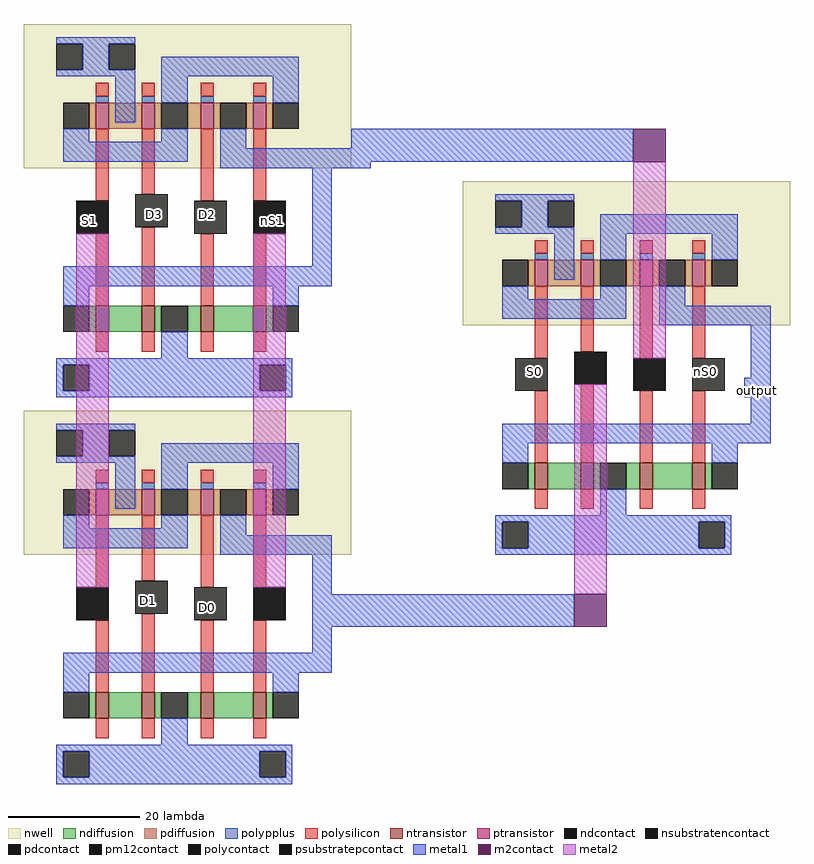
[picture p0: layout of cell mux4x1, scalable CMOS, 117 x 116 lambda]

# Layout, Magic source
magic
tech scmos
<< polycontact >>
rect 8 23 13 28
rect 35 23 40 28
<< metal1 >>
rect 50 36 93 39
rect 44 34 93 36
rect 44 33 53 34
rect 110 -2 114 1
rect 46 -37 84 -32
<< m2contact >>
rect 93 34 98 39
rect 84 -37 89 -32
<< pm12contact >>
rect 8 23 13 28
rect 35 23 40 28
rect 84 0 89 5
rect 93 -1 98 4
rect 8 -36 13 -31
rect 35 -36 40 -31
<< metal2 >>
rect 8 -31 13 23
rect 35 -31 40 23
rect 84 -32 89 0
rect 93 4 98 34
use mux2x1  mux2x1_2
transform 1 0 84 0 1 12
box -17 -38 33 19
use mux2x1  mux2x1_1
transform 1 0 17 0 1 -23
box -17 -38 33 19
use mux2x1  mux2x1_0
transform 1 0 17 0 1 36
box -17 -38 33 19
<< labels >>
rlabel space 20 26 20 26 1 D3
rlabel space 28 26 28 26 1 D2
rlabel space 19 -33 19 -33 1 D1
rlabel space 28 -34 28 -34 1 D0
rlabel metal1 112 -1 112 -1 7 output
rlabel space 104 2 104 2 1 nS0
rlabel space 78 2 78 2 1 S0
rlabel pm12contact 10 25 10 25 1 S1
rlabel pm12contact 38 25 38 25 1 nS1
<< end >>

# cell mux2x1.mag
magic
tech scmos
<< nwell >>
rect -17 -3 33 19
<< ntransistor >>
rect -6 -28 -4 -24
rect 1 -28 3 -24
rect 10 -28 12 -24
rect 18 -28 20 -24
<< ptransistor >>
rect -6 3 -4 7
rect 1 3 3 7
rect 10 3 12 7
rect 18 3 20 7
<< ndiffusion >>
rect -7 -28 -6 -24
rect -4 -28 1 -24
rect 3 -28 4 -24
rect 8 -28 10 -24
rect 12 -28 18 -24
rect 20 -28 21 -24
<< pdiffusion >>
rect -7 3 -6 7
rect -4 3 1 7
rect 3 3 4 7
rect 8 3 10 7
rect 12 3 13 7
rect 17 3 18 7
rect 20 3 21 7
<< ndcontact >>
rect -11 -28 -7 -24
rect 4 -28 8 -24
rect 21 -28 25 -24
<< pdcontact >>
rect -11 3 -7 7
rect 4 3 8 7
rect 13 3 17 7
rect 21 3 25 7
<< psubstratepcontact >>
rect -11 -37 -7 -33
rect 19 -37 23 -33
<< nsubstratencontact >>
rect -12 12 -8 16
rect -4 12 0 16
<< polysilicon >>
rect -6 8 -4 10
rect 1 8 3 10
rect 10 8 12 10
rect 18 8 20 10
rect -6 -8 -4 3
rect 1 -7 3 3
rect 10 -8 12 3
rect 18 -8 20 3
rect -6 -24 -4 -13
rect 1 -24 3 -12
rect 10 -24 12 -13
rect 18 -24 20 -13
rect -6 -31 -4 -28
rect 1 -31 3 -28
rect 10 -31 12 -28
rect 18 -31 20 -28
<< polycontact >>
rect -9 -13 -4 -8
rect 0 -12 5 -7
rect 9 -13 14 -8
rect 18 -13 23 -8
<< polypplus >>
rect -6 7 -4 8
rect 1 7 3 8
rect 10 7 12 8
rect 18 7 20 8
<< metal1 >>
rect -12 16 0 17
rect -8 12 -4 16
rect -12 11 0 12
rect -3 4 0 11
rect 4 11 25 14
rect 4 7 8 11
rect 21 7 25 11
rect -11 1 -7 3
rect 4 1 8 3
rect -11 -2 8 1
rect 13 0 17 3
rect 13 -3 30 0
rect 27 -18 30 -3
rect -11 -21 30 -18
rect -11 -24 -7 -21
rect 21 -24 25 -21
rect 4 -32 8 -28
rect -12 -33 24 -32
rect -12 -37 -11 -33
rect -7 -37 19 -33
rect 23 -37 24 -33
rect -12 -38 24 -37
<< labels >>
rlabel metal1 5 -34 5 -34 1 Gnd
rlabel metal1 -6 14 -6 14 5 VDD
<< end >>
